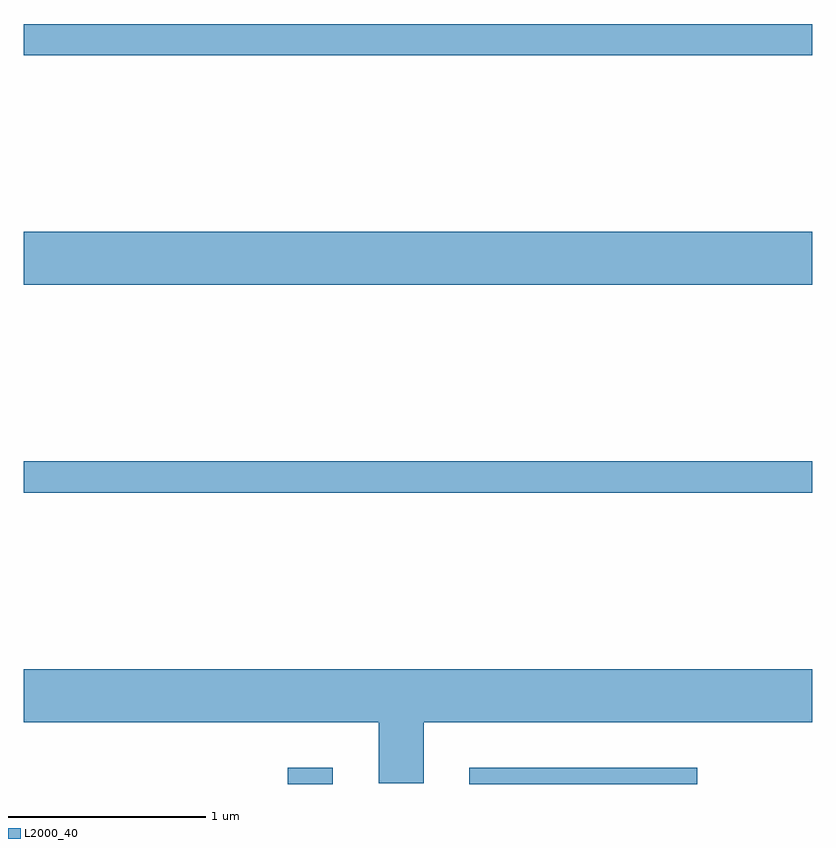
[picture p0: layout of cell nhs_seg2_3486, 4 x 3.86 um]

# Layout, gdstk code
import gdstk
lib = gdstk.Library(unit=1e-6, precision=1e-09)
def R(c, l, rs):  # rectangles x0, y0, x1, y1
    for r in rs: c.add(gdstk.rectangle(r[:2], r[2:], *l))
def P(c, l, *ps):  # polygons
    for p in ps: c.add(gdstk.Polygon(p, *l))
L2000_40 = (2000, 40)

nhs_seg2_3486 = lib.new_cell('nhs_seg2_3486')
R(nhs_seg2_3486, L2000_40, [(288.951,1025.802,289.179,1025.884), (289.871,1025.802,291.028,1025.884), (287.611,1027.281,291.611,1027.439), (287.611,1028.336,291.611,1028.604), (287.611,1029.501,291.611,1029.659)])
P(nhs_seg2_3486, L2000_40, [(289.639,1026.116),(291.611,1026.116),(291.611,1026.384),(287.611,1026.384),(287.611,1026.116),(289.411,1026.116),(289.411,1025.806),(289.639,1025.806)])

lib.write_gds('nhs_seg2_3486.gds')
